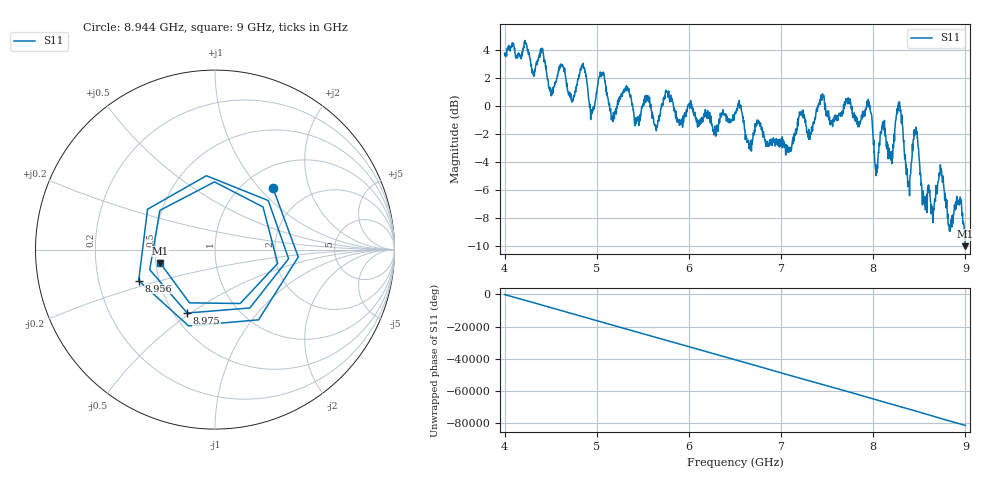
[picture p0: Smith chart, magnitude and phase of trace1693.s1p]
! Created with skrf 1.8.0 (http://scikit-rf.org).
# Hz S RI R 50.0
!freq ReS11 ImS11
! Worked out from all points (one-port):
!   1601 points, 4 GHz to 9 GHz, reference 50 ohm
!   lowest |S11| = -10.0 dB at 9 GHz (marker M1), VSWR 1.92, Z = 26.3 - j4.31 ohm
!   |S11| at or under -10 dB: 8.999671 GHz to end of sweep
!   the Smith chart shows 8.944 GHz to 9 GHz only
!   S11 on the Smith chart (normalised r, x): 8.944 GHz: 1.35, +1.19; 8.956 GHz: 0.38, -0.17; 8.975 GHz: 0.58, -0.48; 9 GHz: 0.53, -0.09
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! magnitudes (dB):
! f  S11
! 4 GHz  3.8
! 4.4 GHz  3.9
! 4.503 GHz  0.8
! 4.625 GHz  2.9
! 4.734 GHz  0.3
! 4.859 GHz  2.7
! 4.947 GHz  -0.5
! 5.053 GHz  2.2
! 5.166 GHz  -0.8
! 5.25 GHz  0.4
! 5.875 GHz  -1.1
! 6.5 GHz  -0.5
! 7.125 GHz  -2.4
! 7.75 GHz  0.4
! 7.959 GHz  -0.1
! 8.034 GHz  -4.3
! 8.103 GHz  -1.2
! 8.197 GHz  -3.4
! 8.284 GHz  0.3
! 8.375 GHz  -5.8
! 8.459 GHz  -2.0
! 8.559 GHz  -7.1
! 8.734 GHz  -4.6
! 8.828 GHz  -9.0
! 8.944 GHz  -6.5
! 8.956 GHz  -6.8
! 8.975 GHz  -8.3
! 9 GHz  -10.0
